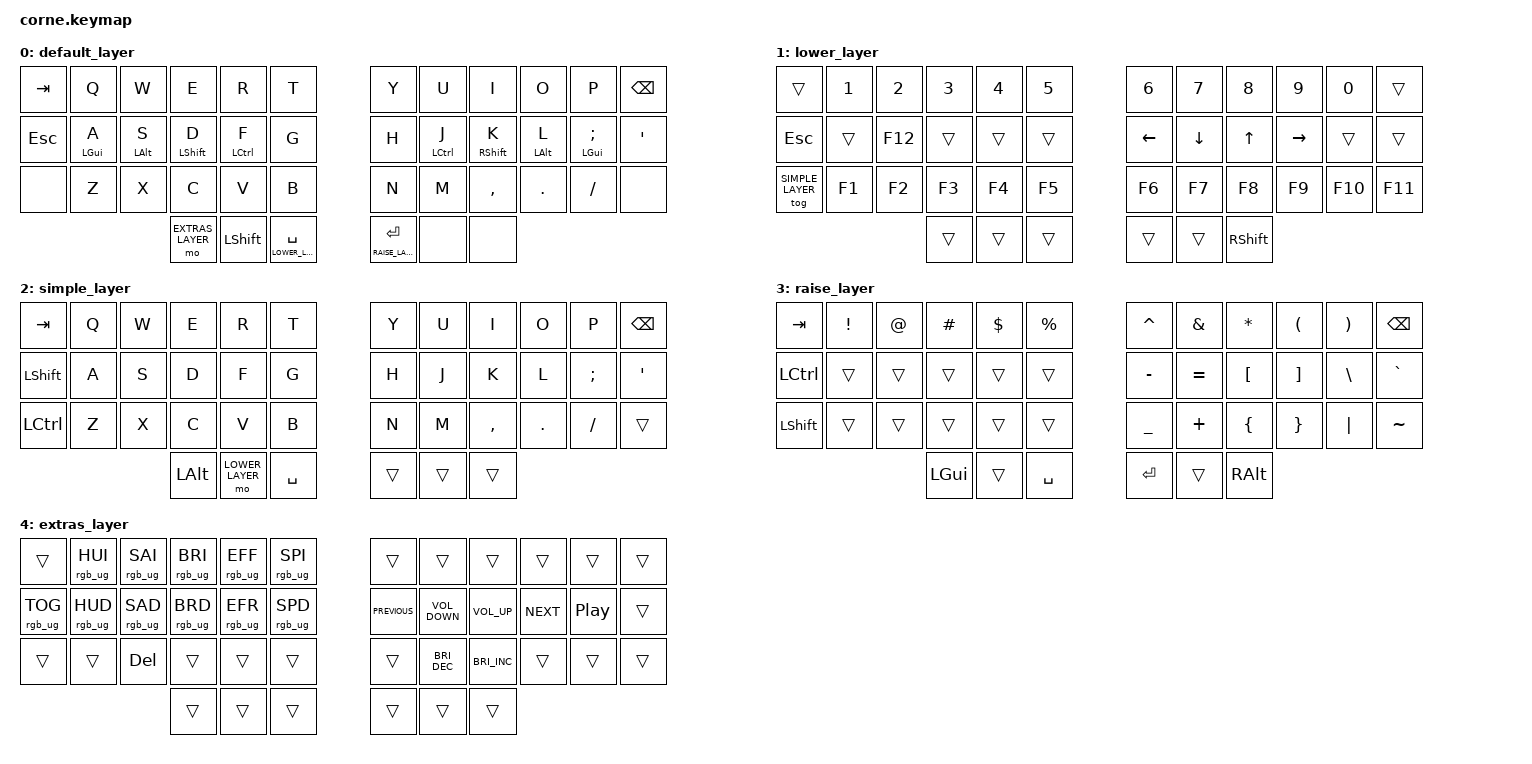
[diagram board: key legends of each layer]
#include <behaviors.dtsi>
#include <dt-bindings/zmk/keys.h>
#include <dt-bindings/zmk/rgb.h>

#include "zmk-helpers/helper.h"
#include "zmk-helpers/key-labels/42.h"
#include "zmk-helpers/unicode-chars/portuguese.dtsi"

#define KEYS_L LT0 LT1 LT2 LT3 LT4 LT5 LM0 LM1 LM2 LM3 LM4 LM5 LB0 LB1 LB2 LB3 LB4 LB5 // left-hand keys
#define KEYS_R RT0 RT1 RT2 RT3 RT4 RT5 RM0 RM1 RM2 RM3 RM4 RM5 RB0 RB1 RB2 RB3 RB4 RB5 // right-hand keys
#define THUMBS LH2 LH1 LH0 RH0 RH1 RH2 // thumb keys

#define LOWER_LAYER 1
#define SIMPLE_LAYER 2
#define RAISE_LAYER 3
#define EXTRAS_LAYER 4

/* left-hand HRMs */
ZMK_HOLD_TAP(hml,
    flavor = "balanced";
    tapping-term-ms = <280>;
    quick-tap-ms = <175>;                // repeat on tap-into-hold
    require-prior-idle-ms = <75>;
    bindings = <&kp>, <&kp>;
    hold-trigger-key-positions = <KEYS_R THUMBS>;
    hold-trigger-on-release;             // delay positional check until key-release
)

/* right-hand HRMs */
ZMK_HOLD_TAP(hmr,
    flavor = "balanced";
    tapping-term-ms = <280>;
    quick-tap-ms = <175>;                // repeat on tap-into-hold
    require-prior-idle-ms = <75>;
    bindings = <&kp>, <&kp>;
    hold-trigger-key-positions = <KEYS_L THUMBS>;
    hold-trigger-on-release;             // delay positional check until key-release
)

&led_strip { chain-length = <6>; };

/ {
    keymap {
        compatible = "zmk,keymap";

        default_layer {
            bindings = <
&kp TAB    &kp Q        &kp W           &kp E                 &kp R         &kp T                     &kp Y                &kp U         &kp I         &kp O        &kp P           &kp BSPC
&kp ESC    &hml LGUI A  &hml LALT S     &hml LSHFT D          &hml LCTRL F  &kp G                     &kp H                &hmr LCTRL J  &hmr RSHFT K  &hmr LALT L  &hmr LGUI SEMI  &kp SQT
&none      &kp Z        &kp X           &kp C                 &kp V         &kp B                     &kp N                &kp M         &kp COMMA     &kp DOT      &kp FSLH        &none
                                        &mo EXTRAS_LAYER      &kp LSHFT     &lt LOWER_LAYER SPACE     &lt RAISE_LAYER RET  &none         &none
            >;
        };

        lower_layer {
            bindings = <
&trans   &kp N1  &kp N2   &kp N3  &kp N4  &kp N5    &kp N6    &kp N7    &kp N8  &kp N9     &kp N0   &trans
&kp ESC  &trans  &kp F12  &trans  &trans  &trans    &kp LEFT  &kp DOWN  &kp UP  &kp RIGHT  &trans   &trans
&tog SIMPLE_LAYER   &kp F1  &kp F2   &kp F3  &kp F4  &kp F5    &kp F6    &kp F7    &kp F8  &kp F9     &kp F10  &kp F11
                          &trans  &trans  &trans    &trans    &trans    &kp RSHFT
            >;
        };

        simple_layer {
            bindings = <
&kp TAB    &kp Q  &kp W  &kp E      &kp R              &kp T       &kp Y   &kp U   &kp I      &kp O    &kp P     &kp BSPC
&kp LSHFT  &kp A  &kp S  &kp D      &kp F              &kp G       &kp H   &kp J   &kp K      &kp L    &kp SEMI  &kp SQT
&kp LCTRL  &kp Z  &kp X  &kp C      &kp V              &kp B       &kp N   &kp M   &kp COMMA  &kp DOT  &kp FSLH  &trans
                         &kp LALT   &mo LOWER_LAYER    &kp SPACE   &trans  &trans  &trans
            >;
        };

        raise_layer {
            bindings = <
&kp TAB    &kp EXCL  &kp AT  &kp HASH  &kp DLLR  &kp PRCNT    &kp CARET  &kp AMPS   &kp ASTRK  &kp LPAR  &kp RPAR  &kp BSPC
&kp LCTRL  &trans    &trans  &trans    &trans    &trans       &kp MINUS  &kp EQUAL  &kp LBKT   &kp RBKT  &kp BSLH  &kp GRAVE
&kp LSHFT  &trans    &trans  &trans    &trans    &trans       &kp UNDER  &kp PLUS   &kp LBRC   &kp RBRC  &kp PIPE  &kp TILDE
                             &kp LGUI  &trans    &kp SPACE    &kp RET    &trans     &kp RALT
            >;
        };

        extras_layer {
            bindings = <
&trans           &rgb_ug RGB_HUI  &rgb_ug RGB_SAI  &rgb_ug RGB_BRI  &rgb_ug RGB_EFF  &rgb_ug RGB_SPI    &trans          &trans                &trans                &trans      &trans            &trans
&rgb_ug RGB_TOG  &rgb_ug RGB_HUD  &rgb_ug RGB_SAD  &rgb_ug RGB_BRD  &rgb_ug RGB_EFR  &rgb_ug RGB_SPD    &kp C_PREVIOUS  &kp C_VOLUME_DOWN     &kp C_VOLUME_UP       &kp C_NEXT  &kp C_PLAY_PAUSE  &trans
&trans           &trans           &kp DELETE       &trans           &trans           &trans             &trans          &kp C_BRIGHTNESS_DEC  &kp C_BRIGHTNESS_INC  &trans      &trans            &trans
                                                   &trans           &trans           &trans             &trans          &trans                &trans
            >;
        };

    };
};
